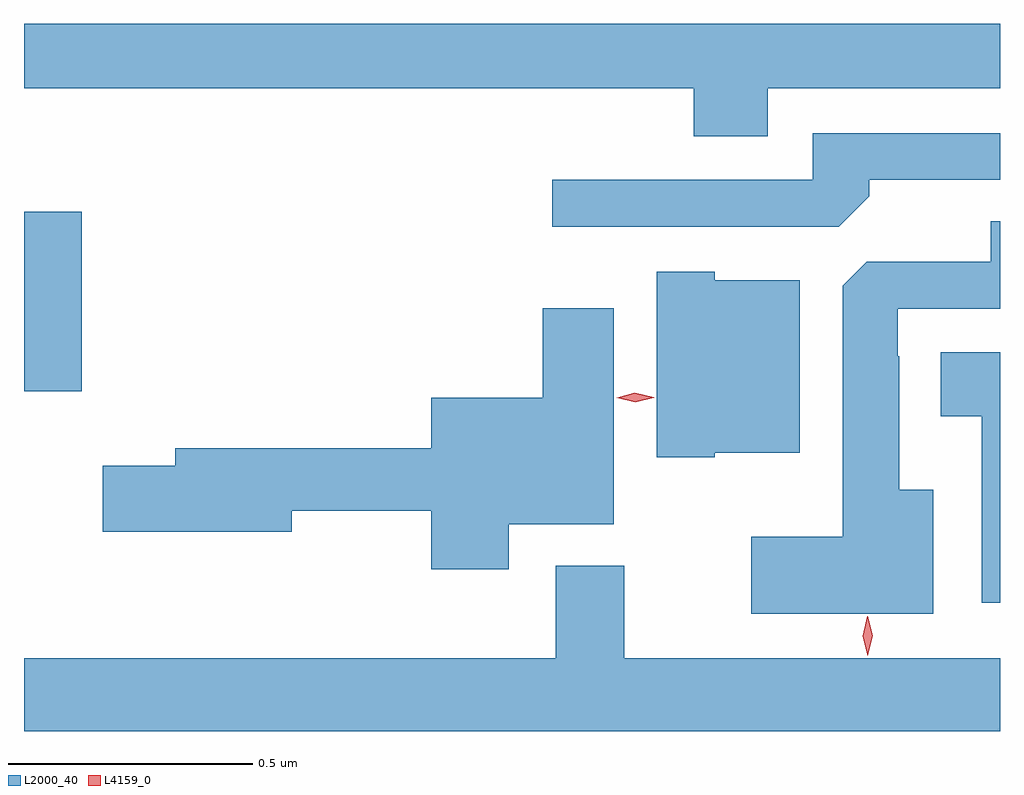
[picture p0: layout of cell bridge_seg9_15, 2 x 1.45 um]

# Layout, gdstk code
import gdstk
lib = gdstk.Library(unit=1e-6, precision=1e-09)
def R(c, l, rs):  # rectangles x0, y0, x1, y1
    for r in rs: c.add(gdstk.rectangle(r[:2], r[2:], *l))
def P(c, l, *ps):  # polygons
    for p in ps: c.add(gdstk.Polygon(p, *l))
L2000_40 = (2000, 40)
L4159_0 = (4159, 0)

bridge_seg9_15 = lib.new_cell('bridge_seg9_15')
R(bridge_seg9_15, L2000_40, [(959.047,1247.747,959.165,1248.115)])
P(bridge_seg9_15, L2000_40, [(959.047,1248.368),(960.419,1248.368),(960.419,1248.269),(960.571,1248.269),(960.571,1248.368),(961.047,1248.368),(961.047,1248.5),(959.047,1248.5)],
  [(960.779,1248.146),(960.779,1248.18),(961.047,1248.18),(961.047,1248.276),(960.663,1248.276),(960.663,1248.18),(960.129,1248.18),(960.129,1248.084),(960.717,1248.084)],
  [(960.91,1247.545),(960.841,1247.545),(960.841,1247.819),(960.837,1247.819),(960.837,1247.916),(961.047,1247.916),(961.047,1248.095),(961.028,1248.095),(961.028,1248.012),(960.774,1248.012),(960.725,1247.963),(960.725,1247.449),(960.537,1247.449),(960.537,1247.291),(960.91,1247.291)],
  [(960.462,1247.621),(960.637,1247.621),(960.637,1247.974),(960.462,1247.974),(960.462,1247.992),(960.344,1247.992),(960.344,1247.612),(960.462,1247.612)],
  [(960.04,1247.474),(960.256,1247.474),(960.256,1247.917),(960.11,1247.917),(960.11,1247.734),(959.882,1247.734),(959.882,1247.63),(959.357,1247.63),(959.357,1247.594),(959.208,1247.594),(959.208,1247.459),(959.596,1247.459),(959.596,1247.502),(959.882,1247.502),(959.882,1247.382),(960.04,1247.382)],
  [(961.047,1247.827),(960.926,1247.827),(960.926,1247.696),(961.01,1247.696),(961.01,1247.313),(961.047,1247.313)],
  [(961.047,1247.2),(960.277,1247.2),(960.277,1247.389),(960.137,1247.389),(960.137,1247.2),(959.047,1247.2),(959.047,1247.05),(961.047,1247.05)])
P(bridge_seg9_15, L4159_0, [(960.776,1247.205),(960.776,1247.205),(960.766,1247.245),(960.775,1247.286),(960.776,1247.286),(960.776,1247.286),(960.786,1247.246),(960.776,1247.205)],
  [(960.3,1247.724),(960.262,1247.733),(960.261,1247.733),(960.262,1247.733),(960.299,1247.744),(960.337,1247.735),(960.338,1247.734),(960.337,1247.734)])

lib.write_gds('bridge_seg9_15.gds')
